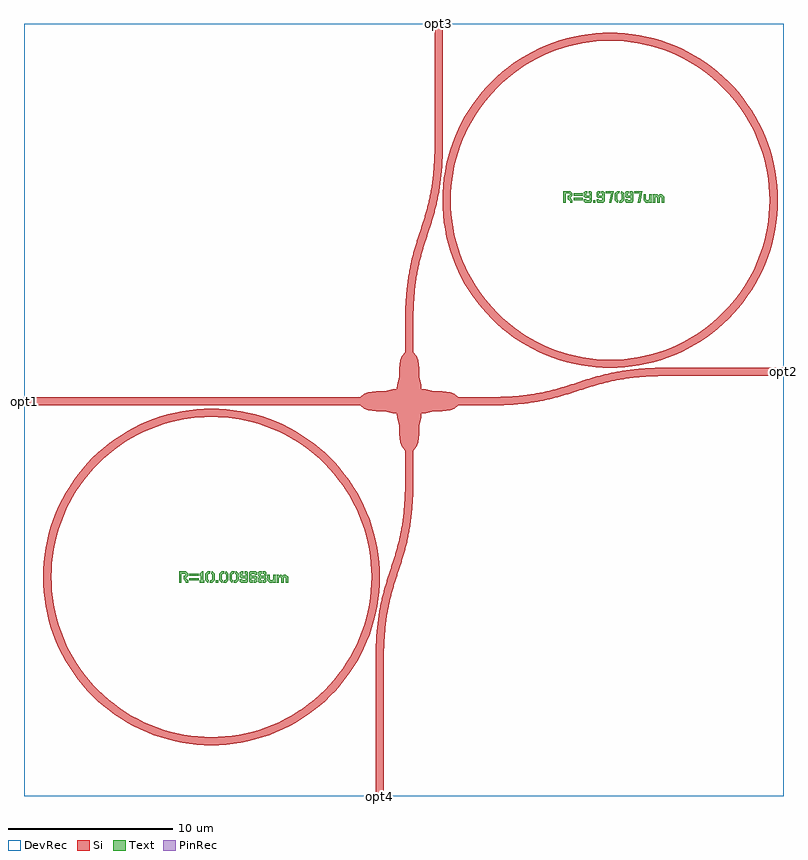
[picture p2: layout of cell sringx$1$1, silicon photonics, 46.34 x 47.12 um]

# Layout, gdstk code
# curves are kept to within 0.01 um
import gdstk
lib = gdstk.Library(unit=1e-6, precision=1e-09)
def R(c, l, rs):  # rectangles x0, y0, x1, y1
    for r in rs: c.add(gdstk.rectangle(r[:2], r[2:], *l))
def P(c, l, *ps):  # polygons
    for p in ps: c.add(gdstk.Polygon(p, *l))
Si = (1, 0)
PinRec = (1, 10)
Text = (10, 0)
DevRec = (68, 0)

sringx_1_1 = lib.new_cell('sringx$1$1')
R(sringx_1_1, Si, [(21.43,0,21.93,8.29), (0,23.83,18.68,24.33), (39.28,25.63,46.32,26.13), (25.03,39.88,25.53,47.1)])
P(sringx_1_1, Si, [(23.23,19.28),(23.23,21.08),(23.02,21.33),(22.93,21.58),(22.89,21.83),(22.86,22.58),(22.76,23.08),(22.73,23.34),(22.48,23.36),(21.98,23.46),(21.23,23.49),(20.98,23.53),(20.73,23.62),(20.48,23.83),(18.68,23.83),(18.68,24.33),(20.48,24.33),(20.73,24.54),(20.98,24.63),(21.23,24.67),(21.98,24.7),(22.48,24.8),(22.73,24.82),(22.76,25.08),(22.86,25.58),(22.89,26.33),(22.93,26.58),(23.02,26.83),(23.23,27.08),(23.23,28.88),(23.73,28.88),(23.73,27.08),(23.94,26.83),(24.03,26.58),(24.07,26.33),(24.1,25.58),(24.2,25.08),(24.22,24.83),(24.48,24.8),(24.98,24.7),(25.73,24.67),(25.98,24.63),(26.23,24.54),(26.48,24.33),(28.28,24.33),(28.28,23.83),(26.48,23.83),(26.23,23.62),(25.98,23.53),(25.73,23.49),(24.98,23.46),(24.48,23.36),(24.22,23.33),(24.2,23.08),(24.1,22.58),(24.07,21.83),(24.03,21.58),(23.94,21.33),(23.73,21.08),(23.73,19.28)],
  [(28.28,23.83),(28.28,24.33),(29.22,24.349),(30.051,24.403),(30.787,24.487),(31.549,24.617),(32.136,24.749),(32.68,24.896),(34.298,25.41),(35.017,25.622),(35.703,25.79),(36.467,25.933),(37.201,26.029),(37.879,26.087),(38.626,26.121),(39.28,26.13),(39.28,25.63),(38.34,25.611),(37.509,25.557),(36.773,25.473),(36.011,25.343),(35.424,25.211),(34.88,25.064),(33.262,24.55),(32.543,24.338),(31.857,24.17),(31.093,24.027),(30.359,23.931),(29.681,23.873),(28.934,23.839)],
  [(21.43,8.28),(21.439,8.934),(21.473,9.681),(21.531,10.359),(21.627,11.093),(21.77,11.857),(21.938,12.543),(22.15,13.262),(22.664,14.88),(22.811,15.424),(22.943,16.011),(23.073,16.773),(23.157,17.509),(23.211,18.34),(23.23,19.28),(23.73,19.28),(23.721,18.626),(23.687,17.879),(23.629,17.201),(23.533,16.467),(23.39,15.703),(23.222,15.017),(23.01,14.298),(22.496,12.68),(22.349,12.136),(22.217,11.549),(22.087,10.787),(22.003,10.051),(21.949,9.22),(21.93,8.28)],
  [(23.23,28.88),(23.239,29.534),(23.273,30.281),(23.331,30.959),(23.427,31.693),(23.57,32.457),(23.738,33.143),(23.95,33.862),(24.464,35.48),(24.611,36.024),(24.743,36.611),(24.873,37.373),(24.957,38.109),(25.011,38.94),(25.03,39.88),(25.53,39.88),(25.521,39.226),(25.487,38.479),(25.429,37.801),(25.333,37.067),(25.19,36.303),(25.022,35.617),(24.81,34.898),(24.296,33.28),(24.149,32.736),(24.017,32.149),(23.887,31.387),(23.803,30.651),(23.749,29.82),(23.73,28.88)],
  [(11.42,3.11),(10.526,3.149),(9.638,3.266),(8.765,3.46),(8.335,3.585),(7.494,3.891),(6.683,4.27),(5.907,4.717),(5.174,5.23),(4.825,5.511),(4.165,6.115),(3.561,6.775),(3.28,7.124),(2.767,7.857),(2.32,8.633),(1.941,9.444),(1.635,10.285),(1.51,10.715),(1.316,11.588),(1.199,12.476),(1.16,13.37),(1.199,14.264),(1.316,15.152),(1.51,16.025),(1.635,16.455),(1.941,17.296),(2.32,18.107),(2.767,18.883),(3.28,19.616),(3.561,19.965),(4.165,20.625),(4.825,21.229),(5.174,21.51),(5.907,22.023),(6.683,22.47),(7.494,22.849),(8.335,23.155),(8.765,23.28),(9.638,23.474),(10.526,23.591),(11.42,23.63),(12.314,23.591),(13.202,23.474),(14.075,23.28),(14.505,23.155),(15.346,22.849),(16.157,22.47),(16.933,22.023),(17.666,21.51),(18.015,21.229),(18.675,20.625),(19.279,19.965),(19.56,19.616),(20.073,18.883),(20.52,18.107),(20.899,17.296),(21.205,16.455),(21.33,16.025),(21.524,15.152),(21.641,14.264),(21.68,13.37),(21.18,13.37),(21.143,14.221),(21.096,14.644),(20.948,15.482),(20.728,16.305),(20.437,17.105),(20.077,17.877),(19.872,18.25),(19.415,18.968),(19.163,19.311),(18.616,19.964),(18.014,20.566),(17.361,21.113),(17.018,21.365),(16.3,21.822),(15.927,22.027),(15.155,22.387),(14.355,22.678),(13.946,22.797),(13.115,22.981),(12.271,23.093),(11.42,23.13),(10.994,23.12),(10.569,23.093),(9.725,22.981),(8.894,22.797),(8.485,22.678),(7.685,22.387),(6.913,22.027),(6.54,21.822),(5.822,21.365),(5.147,20.846),(4.826,20.566),(4.519,20.271),(4.224,19.964),(3.677,19.311),(3.425,18.968),(2.968,18.25),(2.763,17.877),(2.403,17.105),(2.112,16.305),(1.892,15.482),(1.809,15.065),(1.697,14.221),(1.66,13.37),(1.67,12.944),(1.697,12.519),(1.809,11.675),(1.993,10.844),(2.112,10.435),(2.403,9.635),(2.763,8.863),(2.968,8.49),(3.425,7.772),(3.677,7.429),(4.224,6.776),(4.519,6.469),(4.826,6.174),(5.479,5.627),(5.822,5.375),(6.54,4.918),(6.913,4.713),(7.685,4.353),(8.485,4.062),(8.894,3.943),(9.725,3.759),(10.146,3.694),(10.569,3.647),(11.42,3.61),(12.271,3.647),(13.115,3.759),(13.532,3.842),(14.355,4.062),(15.155,4.353),(15.545,4.525),(15.927,4.713),(16.664,5.139),(17.361,5.627),(18.014,6.174),(18.321,6.469),(18.616,6.776),(19.163,7.429),(19.651,8.126),(20.077,8.863),(20.265,9.245),(20.437,9.635),(20.728,10.435),(20.948,11.258),(21.096,12.096),(21.143,12.519),(21.18,13.37),(21.68,13.37),(21.641,12.476),(21.524,11.588),(21.33,10.715),(21.205,10.285),(20.899,9.444),(20.52,8.633),(20.073,7.857),(19.56,7.124),(19.279,6.775),(18.675,6.115),(18.015,5.511),(17.666,5.23),(16.933,4.717),(16.157,4.27),(15.346,3.891),(14.505,3.585),(14.075,3.46),(13.202,3.266),(12.314,3.149)],
  [(35.73,26.119),(34.839,26.158),(34.396,26.206),(33.955,26.274),(33.518,26.361),(32.656,26.592),(32.234,26.735),(31.819,26.897),(31.01,27.274),(30.62,27.488),(29.867,27.967),(29.16,28.51),(28.503,29.113),(27.9,29.77),(27.357,30.477),(26.878,31.23),(26.664,31.62),(26.287,32.429),(26.125,32.844),(25.982,33.266),(25.857,33.695),(25.664,34.565),(25.596,35.006),(25.548,35.449),(25.509,36.34),(25.548,37.231),(25.596,37.674),(25.664,38.115),(25.751,38.552),(25.982,39.414),(26.125,39.836),(26.287,40.251),(26.664,41.06),(26.878,41.45),(27.357,42.203),(27.9,42.91),(28.503,43.567),(29.16,44.17),(29.867,44.713),(30.62,45.192),(31.01,45.406),(31.819,45.783),(32.234,45.945),(32.656,46.088),(33.085,46.213),(33.955,46.406),(34.396,46.474),(34.839,46.522),(35.73,46.561),(36.621,46.522),(37.064,46.474),(37.505,46.406),(37.942,46.319),(38.804,46.088),(39.226,45.945),(39.641,45.783),(40.45,45.406),(40.84,45.192),(41.593,44.713),(42.3,44.17),(42.957,43.567),(43.56,42.91),(44.103,42.203),(44.582,41.45),(44.796,41.06),(45.173,40.251),(45.335,39.836),(45.478,39.414),(45.603,38.985),(45.796,38.115),(45.864,37.674),(45.912,37.231),(45.951,36.34),(45.451,36.34),(45.442,36.764),(45.368,37.609),(45.221,38.444),(45.001,39.263),(44.711,40.06),(44.353,40.829),(43.929,41.563),(43.693,41.916),(43.177,42.589),(42.897,42.907),(42.604,43.214),(41.979,43.787),(41.306,44.303),(40.953,44.539),(40.219,44.963),(39.45,45.321),(38.653,45.611),(37.834,45.831),(36.999,45.978),(36.577,46.024),(36.154,46.052),(35.306,46.052),(34.461,45.978),(33.626,45.831),(33.214,45.73),(32.405,45.475),(32.01,45.321),(31.241,44.963),(30.507,44.539),(30.154,44.303),(29.481,43.787),(28.856,43.214),(28.283,42.589),(28.018,42.258),(27.531,41.563),(27.311,41.2),(27.107,40.829),(26.749,40.06),(26.595,39.665),(26.34,38.856),(26.239,38.444),(26.092,37.609),(26.018,36.764),(26.018,35.916),(26.046,35.493),(26.092,35.071),(26.239,34.236),(26.34,33.824),(26.595,33.015),(26.749,32.62),(27.107,31.851),(27.531,31.117),(27.767,30.764),(28.283,30.091),(28.856,29.466),(29.163,29.173),(29.481,28.893),(30.154,28.377),(30.507,28.141),(31.241,27.717),(32.01,27.359),(32.405,27.205),(33.214,26.95),(33.626,26.849),(34.461,26.702),(35.306,26.628),(36.154,26.628),(36.577,26.656),(36.999,26.702),(37.834,26.849),(38.246,26.95),(39.055,27.205),(39.45,27.359),(40.219,27.717),(40.953,28.141),(41.306,28.377),(41.979,28.893),(42.604,29.466),(43.177,30.091),(43.693,30.764),(43.929,31.117),(44.353,31.851),(44.711,32.62),(44.865,33.015),(45.12,33.824),(45.221,34.236),(45.368,35.071),(45.442,35.916),(45.451,36.34),(45.951,36.34),(45.912,35.449),(45.864,35.006),(45.796,34.565),(45.709,34.128),(45.478,33.266),(45.335,32.844),(45.173,32.429),(44.796,31.62),(44.582,31.23),(44.103,30.477),(43.56,29.77),(42.957,29.113),(42.3,28.51),(41.593,27.967),(40.84,27.488),(40.45,27.274),(39.641,26.897),(39.226,26.735),(38.804,26.592),(38.375,26.467),(37.505,26.274),(37.064,26.206),(36.621,26.158)])
R(sringx_1_1, Text, [(11.685,13.02,11.825,13.16), (10.075,13.16,10.635,13.3), (10.075,13.44,10.635,13.58), (34.691,36.201,34.831,36.341), (33.501,36.341,34.061,36.481), (33.501,36.621,34.061,36.761)])
P(sringx_1_1, Text, [(35.671,36.201),(35.783,36.761),(35.461,36.761),(35.461,36.901),(35.951,36.901),(35.811,36.201)],
  [(37.421,36.201),(37.533,36.761),(37.211,36.761),(37.211,36.901),(37.701,36.901),(37.561,36.201)],
  [(13.785,13.02),(13.715,13.09),(13.715,13.65),(13.785,13.72),(14.135,13.72),(14.205,13.65),(14.205,13.51),(14.065,13.51),(14.065,13.58),(13.855,13.58),(13.855,13.44),(14.135,13.44),(14.205,13.37),(14.205,13.09),(14.135,13.02),(13.995,13.02),(13.995,13.16),(14.065,13.16),(14.065,13.3),(13.855,13.3),(13.855,13.16),(13.925,13.16),(13.925,13.02)],
  [(11.314,13.02),(11.349,13.16),(11.405,13.16),(11.475,13.23),(11.475,13.51),(11.405,13.58),(11.44,13.72),(11.475,13.72),(11.615,13.58),(11.615,13.16),(11.475,13.02)],
  [(12.154,13.02),(12.189,13.16),(12.245,13.16),(12.315,13.23),(12.315,13.51),(12.245,13.58),(12.28,13.72),(12.315,13.72),(12.455,13.58),(12.455,13.16),(12.315,13.02)],
  [(12.784,13.02),(12.819,13.16),(12.875,13.16),(12.945,13.23),(12.945,13.51),(12.875,13.58),(12.91,13.72),(12.945,13.72),(13.085,13.58),(13.085,13.16),(12.945,13.02)],
  [(36.28,36.201),(36.315,36.341),(36.371,36.341),(36.441,36.411),(36.441,36.691),(36.371,36.761),(36.406,36.901),(36.441,36.901),(36.581,36.761),(36.581,36.341),(36.441,36.201)],
  [(9.445,13.02),(9.445,13.72),(9.865,13.72),(10.005,13.58),(10.005,13.44),(9.865,13.3),(10.005,13.16),(10.005,13.02),(9.865,13.02),(9.865,13.09),(9.725,13.23),(9.725,13.44),(9.795,13.44),(9.865,13.51),(9.795,13.58),(9.585,13.58),(9.585,13.02)],
  [(32.871,36.201),(32.871,36.901),(33.291,36.901),(33.431,36.761),(33.431,36.621),(33.291,36.481),(33.431,36.341),(33.431,36.201),(33.291,36.201),(33.291,36.271),(33.151,36.411),(33.151,36.621),(33.221,36.621),(33.291,36.691),(33.221,36.761),(33.011,36.761),(33.011,36.201)],
  [(15.395,13.02),(15.395,13.51),(15.535,13.51),(15.535,13.44),(15.605,13.51),(15.675,13.51),(15.745,13.44),(15.815,13.51),(15.955,13.51),(16.095,13.37),(16.095,13.02),(15.955,13.02),(15.955,13.3),(15.885,13.37),(15.815,13.3),(15.815,13.02),(15.675,13.02),(15.675,13.3),(15.605,13.37),(15.535,13.3),(15.535,13.02)],
  [(38.331,36.201),(38.331,36.691),(38.471,36.691),(38.471,36.621),(38.541,36.691),(38.611,36.691),(38.681,36.621),(38.751,36.691),(38.891,36.691),(39.031,36.551),(39.031,36.201),(38.891,36.201),(38.891,36.481),(38.821,36.551),(38.751,36.481),(38.751,36.201),(38.611,36.201),(38.611,36.481),(38.541,36.551),(38.471,36.481),(38.471,36.201)],
  [(11.195,13.02),(11.055,13.16),(11.055,13.58),(11.195,13.72),(11.356,13.72),(11.321,13.58),(11.265,13.58),(11.195,13.51),(11.195,13.23),(11.265,13.16),(11.23,13.02)],
  [(12.035,13.02),(11.895,13.16),(11.895,13.58),(12.035,13.72),(12.196,13.72),(12.161,13.58),(12.105,13.58),(12.035,13.51),(12.035,13.23),(12.105,13.16),(12.07,13.02)],
  [(12.665,13.02),(12.525,13.16),(12.525,13.58),(12.665,13.72),(12.826,13.72),(12.791,13.58),(12.735,13.58),(12.665,13.51),(12.665,13.23),(12.735,13.16),(12.7,13.02)],
  [(36.161,36.201),(36.021,36.341),(36.021,36.761),(36.161,36.901),(36.322,36.901),(36.287,36.761),(36.231,36.761),(36.161,36.691),(36.161,36.411),(36.231,36.341),(36.196,36.201)],
  [(14.975,13.02),(14.835,13.16),(14.835,13.51),(14.975,13.51),(14.975,13.23),(15.045,13.16),(15.115,13.16),(15.185,13.23),(15.185,13.51),(15.325,13.51),(15.325,13.02),(15.185,13.02),(15.185,13.09),(15.115,13.02)],
  [(37.911,36.201),(37.771,36.341),(37.771,36.691),(37.911,36.691),(37.911,36.411),(37.981,36.341),(38.051,36.341),(38.121,36.411),(38.121,36.691),(38.261,36.691),(38.261,36.201),(38.121,36.201),(38.121,36.271),(38.051,36.201)],
  [(10.705,13.02),(10.705,13.16),(10.775,13.16),(10.775,13.44),(10.705,13.44),(10.705,13.58),(10.845,13.72),(10.915,13.72),(10.915,13.16),(10.985,13.16),(10.985,13.02)],
  [(13.225,13.02),(13.155,13.09),(13.155,13.23),(13.295,13.23),(13.295,13.16),(13.505,13.16),(13.505,13.3),(13.225,13.3),(13.155,13.37),(13.155,13.65),(13.225,13.72),(13.365,13.72),(13.365,13.58),(13.295,13.58),(13.295,13.44),(13.505,13.44),(13.505,13.58),(13.435,13.58),(13.435,13.72),(13.575,13.72),(13.645,13.65),(13.645,13.09),(13.575,13.02)],
  [(34.201,36.201),(34.131,36.271),(34.131,36.411),(34.271,36.411),(34.271,36.341),(34.481,36.341),(34.481,36.481),(34.201,36.481),(34.131,36.551),(34.131,36.831),(34.201,36.901),(34.341,36.901),(34.341,36.761),(34.271,36.761),(34.271,36.621),(34.481,36.621),(34.481,36.761),(34.411,36.761),(34.411,36.901),(34.551,36.901),(34.621,36.831),(34.621,36.271),(34.551,36.201)],
  [(34.971,36.201),(34.901,36.271),(34.901,36.411),(35.041,36.411),(35.041,36.341),(35.251,36.341),(35.251,36.481),(34.971,36.481),(34.901,36.551),(34.901,36.831),(34.971,36.901),(35.111,36.901),(35.111,36.761),(35.041,36.761),(35.041,36.621),(35.251,36.621),(35.251,36.761),(35.181,36.761),(35.181,36.901),(35.321,36.901),(35.391,36.831),(35.391,36.271),(35.321,36.201)],
  [(36.721,36.201),(36.651,36.271),(36.651,36.411),(36.791,36.411),(36.791,36.341),(37.001,36.341),(37.001,36.481),(36.721,36.481),(36.651,36.551),(36.651,36.831),(36.721,36.901),(36.861,36.901),(36.861,36.761),(36.791,36.761),(36.791,36.621),(37.001,36.621),(37.001,36.761),(36.931,36.761),(36.931,36.901),(37.071,36.901),(37.141,36.831),(37.141,36.271),(37.071,36.201)],
  [(14.345,13.02),(14.275,13.09),(14.275,13.3),(14.345,13.37),(14.275,13.44),(14.275,13.65),(14.345,13.72),(14.485,13.72),(14.485,13.58),(14.415,13.58),(14.415,13.44),(14.625,13.44),(14.625,13.58),(14.555,13.58),(14.555,13.72),(14.695,13.72),(14.765,13.65),(14.765,13.44),(14.695,13.37),(14.765,13.3),(14.765,13.09),(14.695,13.02),(14.555,13.02),(14.555,13.16),(14.625,13.16),(14.625,13.3),(14.415,13.3),(14.415,13.16),(14.485,13.16),(14.485,13.02)])
R(sringx_1_1, DevRec, [(0,0,46.32,47.1)])
sringx_1_1.add(gdstk.FlexPath([(0.01,24.08),(-0.01,24.08)], 0.5, ends="flush", simple_path=True, layer=1, datatype=10))  # PinRec
sringx_1_1.add(gdstk.FlexPath([(46.31,25.88),(46.33,25.88)], 0.5, ends="flush", simple_path=True, layer=1, datatype=10))  # PinRec
sringx_1_1.add(gdstk.FlexPath([(25.28,47.09),(25.28,47.11)], 0.5, ends="flush", simple_path=True, layer=1, datatype=10))  # PinRec
sringx_1_1.add(gdstk.FlexPath([(21.68,0.01),(21.68,-0.01)], 0.5, ends="flush", simple_path=True, layer=1, datatype=10))  # PinRec
sringx_1_1.add(gdstk.Label('opt2', (46.32,25.88), layer=1, texttype=10))
sringx_1_1.add(gdstk.Label('opt1', (0,24.08), layer=1, texttype=10))
sringx_1_1.add(gdstk.Label('opt3', (25.28,47.1), layer=1, texttype=10))
sringx_1_1.add(gdstk.Label('opt4', (21.68,0), layer=1, texttype=10))

lib.write_gds('sringx_1_1.gds')
